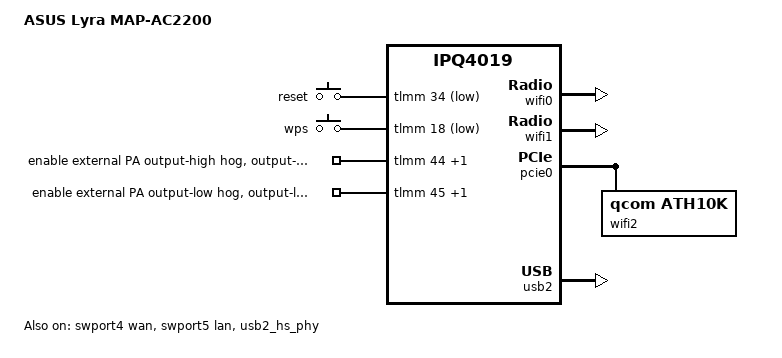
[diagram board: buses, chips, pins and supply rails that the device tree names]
// SPDX-License-Identifier: GPL-2.0-or-later OR MIT

#include "qcom-ipq4019.dtsi"
#include <dt-bindings/leds/common.h>
#include "qcom-ipq4019-asus.dtsi"
#include "qcom-ipq401x-map-acxx00.dtsi"

/ {
	model = "ASUS Lyra MAP-AC2200";
	compatible = "asus,map-ac2200";

	aliases {
		led-boot = &led_blue0;
		led-failsafe = &led_red0;
		led-running = &led_blue0;
		led-upgrade = &led_red0;
		ethernet1 = &swport4;
	};

	keys {
		compatible = "gpio-keys";

		reset {
			label = "reset";
			gpios = <&tlmm 34 GPIO_ACTIVE_LOW>;
			linux,code = <KEY_RESTART>;
		};

		wps {
			label = "wps";
			gpios = <&tlmm 18 GPIO_ACTIVE_LOW>;
			linux,code = <KEY_WPS_BUTTON>;
		};
	};
};


&tlmm {
	i2c_0_pins: i2c_0_pinmux {
		pinmux {
			function = "blsp_i2c0";
			pins = "gpio20", "gpio21";
			drive-strength = <16>;
			bias-disable;
		};
	};

	serial_pins: serial_pinmux {
		mux {
			pins = "gpio16", "gpio17";
			function = "blsp_uart0";
			bias-disable;
		};
	};

	nand_pins: nand_pins {
		pullups {
			pins =	"gpio52", "gpio53", "gpio58",
				"gpio59";
			function = "qpic";
			bias-pull-up;
		};

		pulldowns {
			pins =	"gpio54", "gpio55", "gpio56",
				"gpio57", "gpio60", "gpio61",
				"gpio62", "gpio63", "gpio64",
				"gpio65", "gpio66", "gpio67",
				"gpio68", "gpio69";
			function = "qpic";
			bias-pull-down;
		};
	};
	enable_ext_pa_high {
		gpio-hog;
		gpios = <44 GPIO_ACTIVE_HIGH>,
			<46 GPIO_ACTIVE_HIGH>;
		output-high;
		bias-pull-down;
		line-name = "enable external PA output-high";
	};
	enable_ext_pa_low {
		gpio-hog;
		gpios = <45 GPIO_ACTIVE_HIGH>,
			<47 GPIO_ACTIVE_HIGH>;
		output-low;
		bias-pull-down;
		line-name = "enable external PA output-low";
	};
};

&swport4 {
	status = "okay";
	
	label = "wan";
};

&swport5 {
	status = "okay";
	
	label = "lan";
};

&wifi0 {
	status = "okay";
	qcom,ath10k-calibration-variant = "ASUS-MAP-AC2200";
};

&wifi1 {
	status = "okay";
	qcom,ath10k-calibration-variant = "ASUS-MAP-AC2200";
	ieee80211-freq-limit = <5470000 5875000>;
};

&pcie0 {
	status = "okay";
	perst-gpio = <&tlmm 38 GPIO_ACTIVE_LOW>;
	wake-gpio = <&tlmm 50 GPIO_ACTIVE_LOW>;
	clkreq-gpio = <&tlmm 39 GPIO_ACTIVE_LOW>;

	bridge@0,0 {
		reg = <0x00000000 0 0 0 0>;
		#address-cells = <3>;
		#size-cells = <2>;
		ranges;

		wifi2: wifi@1,0 {
			compatible = "qcom,ath10k";
			status = "okay";
			reg = <0x00010000 0 0 0 0>;
			qcom,ath10k-calibration-variant = "ASUS-MAP-AC2200";
			ieee80211-freq-limit = <5170000 5350000>;
		};
	};
};

&usb2 {
	status = "okay";
};

&usb2_hs_phy {
	/* Bluetooth module attached via USB */
	status = "okay";
};
